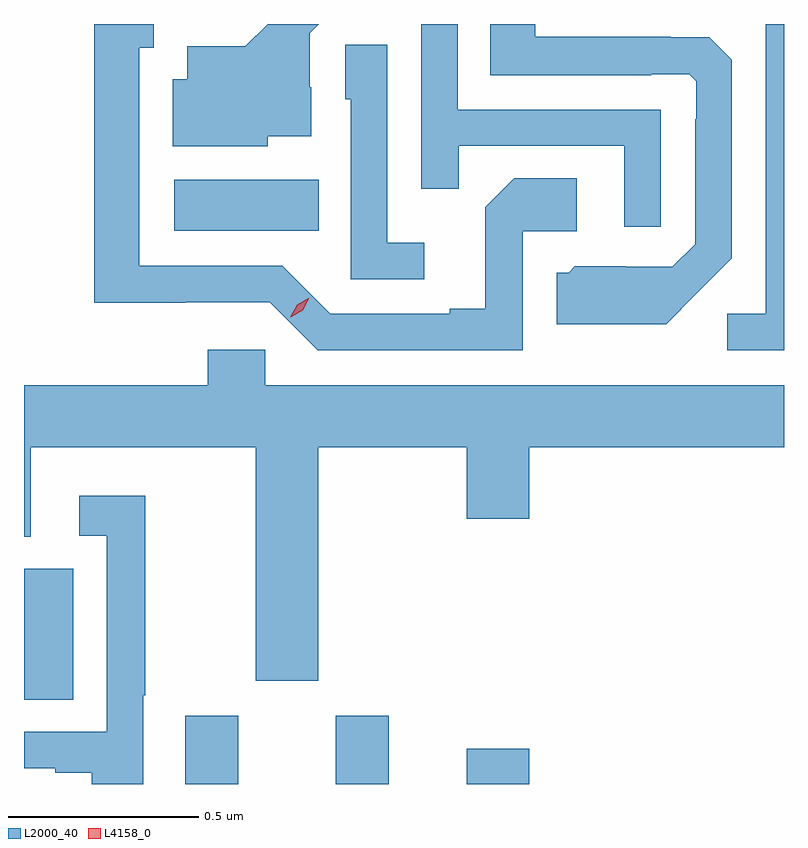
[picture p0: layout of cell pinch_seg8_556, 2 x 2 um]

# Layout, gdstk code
import gdstk
lib = gdstk.Library(unit=1e-6, precision=1e-09)
def R(c, l, rs):  # rectangles x0, y0, x1, y1
    for r in rs: c.add(gdstk.rectangle(r[:2], r[2:], *l))
def P(c, l, *ps):  # polygons
    for p in ps: c.add(gdstk.Polygon(p, *l))
L2000_40 = (2000, 40)
L4158_0 = (4158, 0)

pinch_seg8_556 = lib.new_cell('pinch_seg8_556')
R(pinch_seg8_556, L2000_40, [(116.315,1111.618,116.455,1111.798), (116.711,1111.618,116.851,1111.798), (117.056,1111.618,117.22,1111.711), (115.891,1111.84,116.02,1112.184), (116.286,1113.074,116.666,1113.208)])
P(pinch_seg8_556, L2000_40, [(117.567,1113.393),(117.033,1113.393),(117.033,1113.618),(116.937,1113.618),(116.937,1113.184),(117.035,1113.184),(117.035,1113.297),(117.471,1113.297),(117.471,1113.084),(117.567,1113.084)],
  [(117.891,1113.618),(117.843,1113.618),(117.843,1112.856),(117.741,1112.856),(117.741,1112.76),(117.891,1112.76)],
  [(117.661,1112.909),(117.753,1113.002),(117.753,1113.524),(117.694,1113.583),(117.593,1113.583),(117.593,1113.584),(117.237,1113.584),(117.237,1113.618),(117.118,1113.618),(117.118,1113.483),(117.542,1113.483),(117.542,1113.486),(117.642,1113.486),(117.66,1113.468),(117.66,1113.368),(117.657,1113.368),(117.657,1113.039),(117.597,1112.979),(117.474,1112.979),(117.474,1112.98),(117.34,1112.98),(117.324,1112.964),(117.293,1112.964),(117.293,1112.828),(117.581,1112.828)],
  [(117.204,1113.072),(117.346,1113.072),(117.346,1113.212),(117.181,1113.212),(117.105,1113.136),(117.105,1112.869),(117.011,1112.869),(117.011,1112.856),(116.697,1112.856),(116.571,1112.982),(116.194,1112.982),(116.194,1113.555),(116.233,1113.555),(116.233,1113.618),(116.076,1113.618),(116.076,1112.885),(116.316,1112.885),(116.316,1112.886),(116.538,1112.886),(116.664,1112.76),(117.204,1112.76)],
  [(116.532,1113.323),(116.647,1113.323),(116.647,1113.452),(116.643,1113.452),(116.643,1113.594),(116.667,1113.618),(116.533,1113.618),(116.473,1113.559),(116.321,1113.559),(116.321,1113.472),(116.282,1113.472),(116.282,1113.296),(116.532,1113.296)],
  [(116.944,1113.043),(116.847,1113.043),(116.847,1113.563),(116.736,1113.563),(116.736,1113.42),(116.751,1113.42),(116.751,1112.946),(116.944,1112.946)],
  [(116.665,1112.504),(117.056,1112.504),(117.056,1112.316),(117.22,1112.316),(117.22,1112.504),(117.891,1112.504),(117.891,1112.668),(116.526,1112.668),(116.526,1112.761),(116.375,1112.761),(116.375,1112.668),(115.891,1112.668),(115.891,1112.269),(115.909,1112.269),(115.909,1112.504),(116.501,1112.504),(116.501,1111.89),(116.665,1111.89)],
  [(116.205,1111.852),(116.21,1111.852),(116.21,1112.377),(116.037,1112.377),(116.037,1112.271),(116.109,1112.271),(116.109,1111.755),(115.891,1111.755),(115.891,1111.659),(115.973,1111.659),(115.973,1111.647),(116.069,1111.647),(116.069,1111.618),(116.205,1111.618)])
P(pinch_seg8_556, L4158_0, [(116.592,1112.846),(116.592,1112.846),(116.61,1112.879),(116.642,1112.898),(116.642,1112.898),(116.642,1112.897),(116.624,1112.865),(116.593,1112.846)])

lib.write_gds('pinch_seg8_556.gds')
